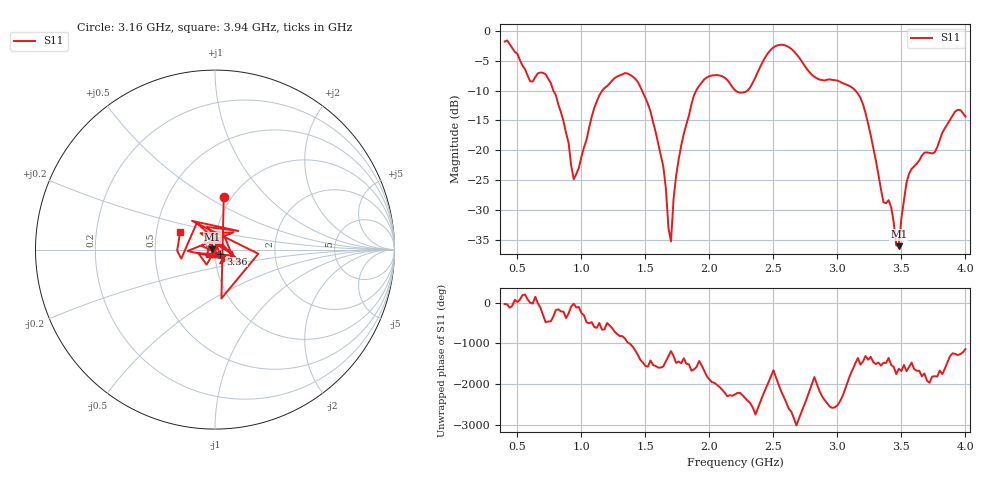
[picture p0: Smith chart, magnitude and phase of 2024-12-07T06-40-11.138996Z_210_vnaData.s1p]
!Created with skrf (http://scikit-rf.org).
# Hz S RI R 50.0
!freq ReS11 ImS11
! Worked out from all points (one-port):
!   181 points, 400 MHz to 4 GHz, reference 50 ohm
!   lowest |S11| = -36.1 dB at 3.48 GHz (marker M1), VSWR 1.03, Z = 48.5 + j0.131 ohm
!   |S11| at or under -10 dB: 780.5 MHz to 1.164 GHz (383.1 MHz wide, 39.4 % of centre); 1.474 GHz to 1.897 GHz (423.4 MHz wide, 25.1 % of centre); 3.14 GHz to end of sweep (the widest 3 of 4)
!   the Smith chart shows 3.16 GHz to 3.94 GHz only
!   S11 on the Smith chart (normalised r, x): 3.16 GHz: 0.92, +0.59; 3.36 GHz: 1.06, -0.05; 3.94 GHz: 0.66, +0.14
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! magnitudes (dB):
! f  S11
! 400 MHz  -1.8
! 600 MHz  -8.5
! 720 MHz  -7.3
! 860 MHz  -15.1
! 940 MHz  -24.9
! 1.14 GHz  -10.8
! 1.3 GHz  -7.4
! 1.42 GHz  -8.0
! 1.54 GHz  -13.5
! 1.64 GHz  -22.8
! 1.7 GHz  -35.3
! 1.72 GHz  -28.2
! 1.76 GHz  -21.5
! 1.88 GHz  -10.8
! 1.96 GHz  -8.1
! 2.2 GHz  -9.9
! 2.3 GHz  -10.0
! 2.5 GHz  -2.8
! 2.66 GHz  -3.4
! 3.1 GHz  -9.3
! 3.16 GHz  -10.5
! 3.24 GHz  -15.6
! 3.36 GHz  -28.7
! 3.42 GHz  -29.5
! 3.48 GHz  -36.1
! 3.56 GHz  -23.9
! 3.94 GHz  -13.2
! 4 GHz  -14.4
